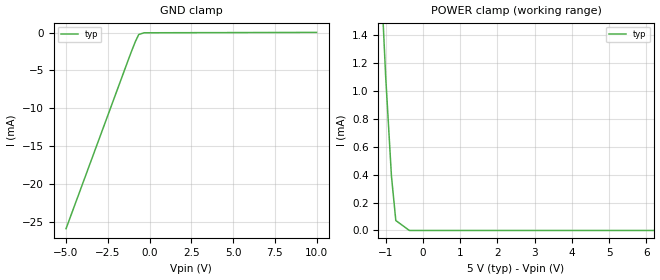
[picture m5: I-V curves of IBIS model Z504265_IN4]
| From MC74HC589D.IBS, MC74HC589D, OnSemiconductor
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| (C) COPYRIGHT 1993-2000
| MENTOR GRAPHICS CORPORATION
| ICX STANDARD LIBRARY, ICX PROJECT MODELING,
| ICX CUSTOM MODELING, ICX VENDOR MODEL
| ALL RIGHTS RESERVED.
| THE FOLLOWING ARE TRADEMARKS OR SERVICE MARKS OF
| MENTOR GRAPHICS CORPORATION:ICX (R), ICX STANDARD
| LIBRARY(R), ICX PROJECT MODELING(R), ICX CUSTOM
| MODELING(R), qualityIBIS(TM), MODELVIEWER(TM),
| AND MODELEDITOR(TM)
| ALL COPIES OF SOFTWARE, INCLUDING BUT NOT LIMITED TO
| ANY MODIFICATIONS, ENHANCEMENTS OR DERIVATIVE WORKS,
| MUST CONTAIN ALL MENTOR GRAPHICS CORPORATION'S
| NOTICES AND LEGENDS, INCLUDING THOSE EMBEDDED IN
| SOFTWARE AND THOSE AFFIXED TO SOFTWARE MEDIUM
| AND CONTAINER, AS RECEIVED FROM MENTOR GRAPHICS
| CORPORATION.
| Model Application Version 1.89 2/18/99.
[Model] Z504265_IN4
Model_type Input
Vinl = 1.000V
Vinh = 3.500V
C_comp 4.000pF NA NA
| variable typ   min   max
[Voltage Range] 5.000V NA NA
[GND Clamp Reference] 0.000V NA NA
[POWER Clamp Reference] 5.000V NA NA
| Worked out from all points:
|   GND clamp passes 1 mA (typ) near -0.81 V on its own axis
|   POWER clamp passes 1 mA (typ) near -0.98 V on its own axis
[GND Clamp]
-5V       -25.92mA   NA         NA
-1.122V   -2.712mA   NA         NA
-835.1mV  -1.119mA   NA         NA
-644.2mV  -253.9uA   NA         NA
-322.1mV  -28.54uA   NA         NA
10V       22.73uA    NA         NA
[POWER Clamp]
-5V       25.3mA     NA         NA
-1.396V   3.346mA    NA         NA
-1V       1.101mA    NA         NA
-845mV    388.6uA    NA         NA
-728mV    71.23uA    NA         NA
-364mV    0A         NA         NA
10V       0A         NA         NA
